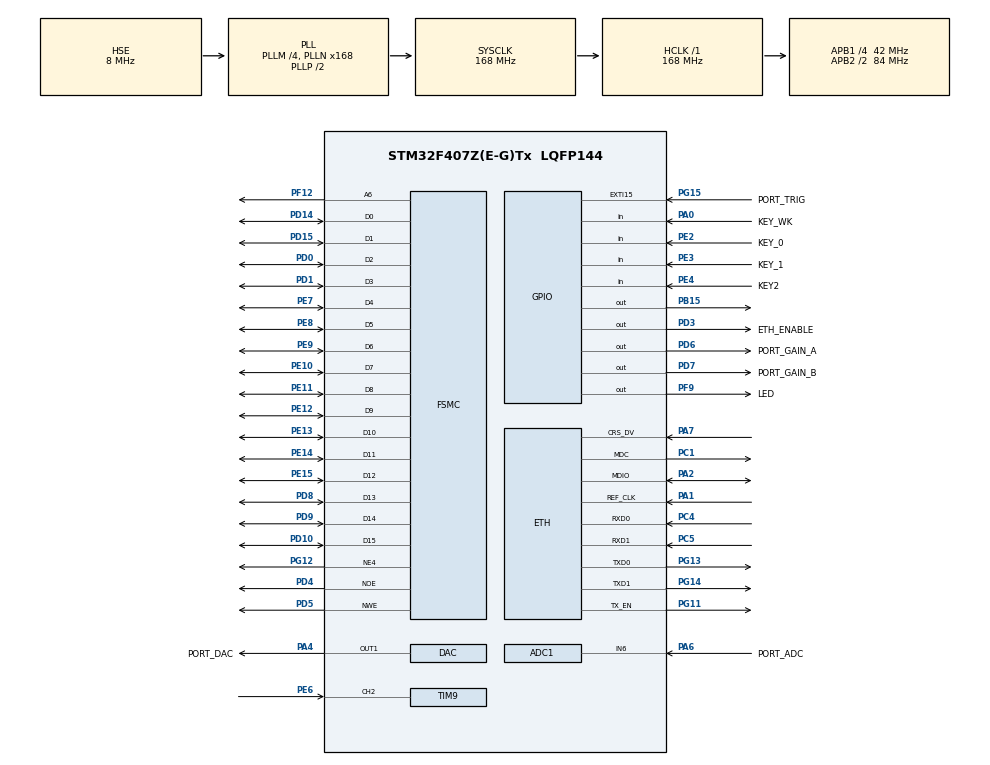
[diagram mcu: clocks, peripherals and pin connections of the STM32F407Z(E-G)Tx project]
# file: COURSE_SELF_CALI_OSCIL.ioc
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ADC1.Channel-1\#ChannelRegularConversion=ADC_CHANNEL_6
ADC1.DMAContinuousRequests=ENABLE
ADC1.ExternalTrigConv=ADC_EXTERNALTRIGCONV_T2_CC2
ADC1.NbrOfConversionFlag=1
ADC1.Rank-1\#ChannelRegularConversion=1
ADC1.SamplingTime-1\#ChannelRegularConversion=ADC_SAMPLETIME_3CYCLES
ADC1.master=1
Dma.ADC1.0.Direction=DMA_PERIPH_TO_MEMORY
Dma.ADC1.0.FIFOMode=DMA_FIFOMODE_DISABLE
Dma.ADC1.0.Instance=DMA2_Stream4
Dma.ADC1.0.MemDataAlignment=DMA_MDATAALIGN_HALFWORD
Dma.ADC1.0.MemInc=DMA_MINC_ENABLE
Dma.ADC1.0.Mode=DMA_NORMAL
Dma.ADC1.0.PeriphDataAlignment=DMA_PDATAALIGN_HALFWORD
Dma.ADC1.0.PeriphInc=DMA_PINC_DISABLE
Dma.ADC1.0.Priority=DMA_PRIORITY_HIGH
Dma.Request0=ADC1
ETH.AutoNegotiation=ETH_AUTONEGOTIATION_ENABLE
ETH.MediaInterface=ETH_MEDIA_INTERFACE_RMII
ETH.PHY_DUPLEX_STATUS=0x0010
ETH.PHY_Name_RMII=userPHY
ETH.PHY_SPEED_STATUS=0x0004
ETH.PHY_SR=0x1F
ETH.PHY_User_Name=LAN8720
ETH.PhyAddress=0
ETH.Speed=ETH_SPEED_100M
FREERTOS.INCLUDE_eTaskGetState=1
FREERTOS.INCLUDE_uxTaskGetStackHighWaterMark=1
FREERTOS.INCLUDE_uxTaskPriorityGet=1
FREERTOS.INCLUDE_vTaskDelayUntil=1
FREERTOS.INCLUDE_vTaskDelete=1
FREERTOS.INCLUDE_vTaskSuspend=1
FREERTOS.INCLUDE_xTaskGetCurrentTaskHandle=1
FREERTOS.INCLUDE_xTaskGetHandle=1
FREERTOS.Tasks01=defaultTask,0,128,StartDefaultTask,Default,NULL,Dynamic,NULL,NULL;ADCHandleTask,0,128,ADCHandleTaskFunction,As external,NULL,Dynamic,NULL,NULL;UIHandleTask,2,256,UIHandleTaskFunction,As external,NULL,Dynamic,NULL,NULL;LwIPHandleTask,2,128,LwIPHandleTaskFunction,As external,NULL,Dynamic,NULL,NULL;DACHandleTask,0,128,DACHandleTaskFunction,As external,NULL,Dynamic,NULL,NULL
FREERTOS.configENABLE_FPU=1
FREERTOS.configGENERATE_RUN_TIME_STATS=1
FREERTOS.configMAX_TASK_NAME_LEN=128
FREERTOS.configRECORD_STACK_HIGH_ADDRESS=1
FREERTOS.configUSE_MUTEXES=1
FSMC.BusTurnAroundDuration1=5
FSMC.DataSetupTime1=60
FSMC.ExtendedAddressSetupTime1=10
FSMC.ExtendedBusTurnAroundDuration1=5
FSMC.ExtendedDataSetupTime1=8
FSMC.ExtendedMode1=FSMC_EXTENDED_MODE_ENABLE
LWIP.GATEWAY_ADDRESS=192.168.001.001
LWIP.IP_ADDRESS=192.168.001.130
LWIP.LWIP_DHCP=0
LWIP.MEMP_NUM_PBUF=10
LWIP.MEMP_NUM_TCP_PCB=5
LWIP.MEMP_NUM_UDP_PCB=1
LWIP.MEM_SIZE=10000
LWIP.NETMASK_ADDRESS=255.255.255.255
LWIP.PBUF_POOL_BUFSIZE=1184
LWIP.TCP_MSS=1072
LWIP.TCP_SND_BUF=4288
LWIP.TCP_SND_QUEUELEN=9
LWIP.Version=v2.1.2_Cube
Mcu.Family=STM32F4
Mcu.Name=STM32F407Z(E-G)Tx
Mcu.Package=LQFP144
NVIC.DMA2_Stream4_IRQn=true\:5\:0\:false\:false\:true\:false\:false\:true
NVIC.ETH_IRQn=true\:5\:0\:false\:false\:true\:true\:false\:true
NVIC.PriorityGroup=NVIC_PRIORITYGROUP_4
NVIC.TIM1_BRK_TIM9_IRQn=true\:5\:0\:false\:false\:true\:true\:true\:true
NVIC.TIM2_IRQn=true\:5\:0\:false\:false\:true\:true\:true\:true
NVIC.TIM7_IRQn=true\:5\:0\:false\:false\:true\:true\:true\:true
NVIC.TIM8_TRG_COM_TIM14_IRQn=true\:0\:0\:false\:false\:true\:false\:false\:true
NVIC.TimeBase=TIM8_TRG_COM_TIM14_IRQn
NVIC.TimeBaseIP=TIM14
PA0-WKUP.GPIO_Label=KEY_WK
PA0-WKUP.GPIO_PuPd=GPIO_PULLDOWN
PA0-WKUP.Signal=GPIO_Input
PA1.Mode=RMII
PA1.Signal=ETH_REF_CLK
PA13.Mode=JTAG_4_pins
PA13.Signal=SYS_JTMS-SWDIO
PA14.Mode=JTAG_4_pins
PA14.Signal=SYS_JTCK-SWCLK
PA15.Mode=JTAG_4_pins
PA15.Signal=SYS_JTDI
PA2.Mode=RMII
PA2.Signal=ETH_MDIO
PA4.GPIO_Label=PORT_DAC
PA4.Signal=COMP_DAC1_group
PA6.GPIO_Label=PORT_ADC
PA6.Signal=ADCx_IN6
PA7.Mode=RMII
PA7.Signal=ETH_CRS_DV
PB15.GPIO_PuPd=GPIO_PULLUP
PB15.GPIO_Speed=GPIO_SPEED_FREQ_VERY_HIGH
PB15.Signal=GPIO_Output
PB3.Mode=JTAG_4_pins
PB3.Signal=SYS_JTDO-SWO
PC1.Mode=RMII
PC1.Signal=ETH_MDC
PC4.Mode=RMII
PC4.Signal=ETH_RXD0
PC5.Mode=RMII
PC5.Signal=ETH_RXD1
PD0.Signal=FSMC_D2_DA2
PD1.Signal=FSMC_D3_DA3
PD10.Signal=FSMC_D15_DA15
PD14.Signal=FSMC_D0_DA0
PD15.Signal=FSMC_D1_DA1
PD3.GPIO_Label=ETH_ENABLE
PD3.Signal=GPIO_Output
PD4.Signal=FSMC_NOE
PD5.Signal=FSMC_NWE
PD6.GPIO_Label=PORT_GAIN_A
PD6.Signal=GPIO_Output
PD7.GPIO_Label=PORT_GAIN_B
PD7.Signal=GPIO_Output
PD8.Signal=FSMC_D13_DA13
PD9.Signal=FSMC_D14_DA14
PE10.Signal=FSMC_D7_DA7
PE11.Signal=FSMC_D8_DA8
PE12.Signal=FSMC_D9_DA9
PE13.Signal=FSMC_D10_DA10
PE14.Signal=FSMC_D11_DA11
PE15.Signal=FSMC_D12_DA12
PE2.GPIO_Label=KEY_0
PE2.GPIO_PuPd=GPIO_PULLUP
PE2.Signal=GPIO_Input
PE3.GPIO_Label=KEY_1
PE3.GPIO_PuPd=GPIO_PULLUP
PE3.Signal=GPIO_Input
PE4.GPIO_Label=KEY2
PE4.GPIO_PuPd=GPIO_PULLUP
PE4.Signal=GPIO_Input
PE6.Signal=S_TIM9_CH2
PE7.Signal=FSMC_D4_DA4
PE8.Signal=FSMC_D5_DA5
PE9.Signal=FSMC_D6_DA6
PF12.Signal=FSMC_A6
PF9.GPIO_Label=LED
PF9.Signal=GPIO_Output
PG11.Mode=RMII
PG11.Signal=ETH_TX_EN
PG12.Mode=NorPsramChipSelect4_1
PG12.Signal=FSMC_NE4
PG13.Mode=RMII
PG13.Signal=ETH_TXD0
PG14.Mode=RMII
PG14.Signal=ETH_TXD1
PG15.GPIO_Label=PORT_TRIG
PG15.Signal=GPXTI15
PH0-OSC_IN.Mode=HSE-External-Oscillator
PH0-OSC_IN.Signal=RCC_OSC_IN
PH1-OSC_OUT.Mode=HSE-External-Oscillator
PH1-OSC_OUT.Signal=RCC_OSC_OUT
ProjectManager.HeapSize=0x200
ProjectManager.StackSize=0x800
ProjectManager.TargetToolchain=MDK-ARM V5.27
RCC.48MHZClocksFreq_Value=84000000
RCC.AHBFreq_Value=168000000
RCC.APB1CLKDivider=RCC_HCLK_DIV4
RCC.APB1Freq_Value=42000000
RCC.APB1TimFreq_Value=84000000
RCC.APB2CLKDivider=RCC_HCLK_DIV2
RCC.APB2Freq_Value=84000000
RCC.APB2TimFreq_Value=168000000
RCC.CortexFreq_Value=168000000
RCC.EnbaleCSS=true
RCC.HCLKFreq_Value=168000000
RCC.HSE_VALUE=8000000
RCC.HSI_VALUE=16000000
RCC.LSE_VALUE=32768
RCC.PLLM=4
RCC.PLLN=168
RCC.PLLSourceVirtual=RCC_PLLSOURCE_HSE
RCC.SYSCLKFreq_VALUE=168000000
RCC.SYSCLKSource=RCC_SYSCLKSOURCE_PLLCLK
RCC.VCOOutputFreq_Value=336000000
SH.ADCx_IN6.0=ADC1_IN6,IN6
SH.COMP_DAC1_group.0=DAC_OUT1,DAC_OUT1
SH.FSMC_A6.0=FSMC_A6,A6_1
SH.FSMC_D0_DA0.0=FSMC_D0,16b-d1
SH.FSMC_D10_DA10.0=FSMC_D10,16b-d1
SH.FSMC_D11_DA11.0=FSMC_D11,16b-d1
SH.FSMC_D12_DA12.0=FSMC_D12,16b-d1
SH.FSMC_D13_DA13.0=FSMC_D13,16b-d1
SH.FSMC_D14_DA14.0=FSMC_D14,16b-d1
SH.FSMC_D15_DA15.0=FSMC_D15,16b-d1
SH.FSMC_D1_DA1.0=FSMC_D1,16b-d1
SH.FSMC_D2_DA2.0=FSMC_D2,16b-d1
SH.FSMC_D3_DA3.0=FSMC_D3,16b-d1
SH.FSMC_D4_DA4.0=FSMC_D4,16b-d1
SH.FSMC_D5_DA5.0=FSMC_D5,16b-d1
SH.FSMC_D6_DA6.0=FSMC_D6,16b-d1
SH.FSMC_D7_DA7.0=FSMC_D7,16b-d1
SH.FSMC_D8_DA8.0=FSMC_D8,16b-d1
SH.FSMC_D9_DA9.0=FSMC_D9,16b-d1
SH.FSMC_NOE.0=FSMC_NOE,Lcd1
SH.FSMC_NWE.0=FSMC_NWE,Lcd1
SH.S_TIM9_CH2.0=TIM9_CH2,Input_Capture2_from_TI2
SH.S_TIM9_CH2.1=TIM9_CH2,TriggerSource_TI2FP2
TIM2.AutoReloadPreload=TIM_AUTORELOAD_PRELOAD_ENABLE
TIM2.Channel-PWM\ Generation2\ No\ Output=TIM_CHANNEL_2
TIM2.Period=100-1
TIM2.Prescaler=83
TIM2.Pulse-PWM\ Generation2\ No\ Output=1
TIM2.TIM_MasterOutputTrigger=TIM_TRGO_RESET
TIM2.TIM_MasterSlaveMode=TIM_MASTERSLAVEMODE_DISABLE
TIM7.AutoReloadPreload=TIM_AUTORELOAD_PRELOAD_ENABLE
TIM7.Period=1000-1
TIM7.Prescaler=84
TIM9.Channel-Input_Capture2_from_TI2=TIM_CHANNEL_2
TIM9.ClockDivision=TIM_CLOCKDIVISION_DIV1
TIM9.Period=65535
TIM9.Prescaler=20
VP_FREERTOS_VS_CMSIS_V1.Mode=CMSIS_V1
VP_LWIP_VS_Enabled.Mode=Enabled
VP_SYS_VS_tim14.Mode=TIM14
VP_TIM2_VS_ClockSourceINT.Mode=Internal
VP_TIM2_VS_no_output2.Mode=PWM Generation2 No Output
VP_TIM7_VS_ClockSourceINT.Mode=Enable_Timer
VP_TIM9_VS_ClockSourceINT.Mode=Internal
VP_TIM9_VS_ControllerModeReset.Mode=Reset Mode
board=custom

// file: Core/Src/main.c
/* USER CODE BEGIN Header */
/**
  ******************************************************************************
  * @file           : main.c
  * @brief          : Main program body
  ******************************************************************************
  * @attention
  *
  * <h2><center>&copy; Copyright (c) 2021 STMicroelectronics.
  * All rights reserved.</center></h2>
  *
  * This software component is licensed by ST under Ultimate Liberty license
  * SLA0044, the "License"; You may not use this file except in compliance with
  * the License. You may obtain a copy of the License at:
  *                             www.st.com/SLA0044
  *
  ******************************************************************************
  */
/* USER CODE END Header */
#include "main.h"
#include "cmsis_os.h"
#include "adc.h"
#include "dac.h"
#include "dma.h"
#include "lwip.h"
#include "tim.h"
#include "gpio.h"
#include "fsmc.h"

/* USER CODE BEGIN Includes */
#ifndef UNUSE_LWIP
#include "app_ethernet.h"
#endif
#include "adc_control.h"
#include "userinit.h"
/* USER CODE END Includes */

void SystemClock_Config(void);
void MX_FREERTOS_Init(void);

int main(void)
{

  /* MCU Configuration--------------------------------------------------------*/

  /* Reset of all peripherals, Initializes the Flash interface and the Systick. */
  HAL_Init();

  /* Configure the system clock */
  SystemClock_Config();

  /* Initialize all configured peripherals */
  MX_GPIO_Init();
  MX_DMA_Init();
  MX_ADC1_Init();
  MX_TIM2_Init();
  MX_DAC_Init();
  MX_TIM7_Init();
  MX_FSMC_Init();
  MX_TIM9_Init();
  /* USER CODE BEGIN 2 */

  //User costomized initiation here.
  userinit();
  SEGGER_SYSVIEW_Conf();            /* Configure and initialize */

  /* USER CODE END 2 */

  /* Call init function for freertos objects (in freertos.c) */
  MX_FREERTOS_Init();
  /* Start scheduler */
  osKernelStart();

  /* We should never get here as control is now taken by the scheduler */
  /* Infinite loop */
  while (1)
  {

  }
}

void SystemClock_Config(void)
{
  RCC_OscInitTypeDef RCC_OscInitStruct = {0};
  RCC_ClkInitTypeDef RCC_ClkInitStruct = {0};

  /** Configure the main internal regulator output voltage
  */
  __HAL_RCC_PWR_CLK_ENABLE();
  __HAL_PWR_VOLTAGESCALING_CONFIG(PWR_REGULATOR_VOLTAGE_SCALE1);
  /** Initializes the RCC Oscillators according to the specified parameters
  * in the RCC_OscInitTypeDef structure.
  */
  RCC_OscInitStruct.OscillatorType = RCC_OSCILLATORTYPE_HSE;
  RCC_OscInitStruct.HSEState = RCC_HSE_ON;
  RCC_OscInitStruct.PLL.PLLState = RCC_PLL_ON;
  RCC_OscInitStruct.PLL.PLLSource = RCC_PLLSOURCE_HSE;
  RCC_OscInitStruct.PLL.PLLM = 4;
  RCC_OscInitStruct.PLL.PLLN = 168;
  RCC_OscInitStruct.PLL.PLLP = RCC_PLLP_DIV2;
  RCC_OscInitStruct.PLL.PLLQ = 4;
  if (HAL_RCC_OscConfig(&RCC_OscInitStruct) != HAL_OK)
  {
    Error_Handler();
  }
  /** Initializes the CPU, AHB and APB buses clocks
  */
  RCC_ClkInitStruct.ClockType = RCC_CLOCKTYPE_HCLK|RCC_CLOCKTYPE_SYSCLK
                              |RCC_CLOCKTYPE_PCLK1|RCC_CLOCKTYPE_PCLK2;
  RCC_ClkInitStruct.SYSCLKSource = RCC_SYSCLKSOURCE_PLLCLK;
  RCC_ClkInitStruct.AHBCLKDivider = RCC_SYSCLK_DIV1;
  RCC_ClkInitStruct.APB1CLKDivider = RCC_HCLK_DIV4;
  RCC_ClkInitStruct.APB2CLKDivider = RCC_HCLK_DIV2;

  if (HAL_RCC_ClockConfig(&RCC_ClkInitStruct, FLASH_LATENCY_5) != HAL_OK)
  {
    Error_Handler();
  }
  /** Enables the Clock Security System
  */
  HAL_RCC_EnableCSS();
}

/* USER CODE BEGIN 4 */
uint32_t t=0;
uint32_t p=0;
uint32_t out_val = 0;

float get_t_sin(void)
{
	++t;
	if(t > 3000)
	{
		p = osKernelSysTick() % 300;
		t = 0;
	}
	return (t+p)/300.0f * 3.14159f;
}

void HAL_TIM_IC_CaptureCallback(TIM_HandleTypeDef *htim)
{
	if(htim == &htim9)
	{
		if(htim->Channel == HAL_TIM_ACTIVE_CHANNEL_2)
		{
			if(GlobalWave.caliFreqStruct.overTime == 1)
			{
				GlobalWave.caliFreqStruct.overTime = 0;
				GlobalWave.caliFreqStruct.longTimeNum = 0;
				GlobalWave.period = 0xFFFFFFFF;
				GlobalWave.freq = 0;
			}
			else
			{
				GlobalWave.caliFreqStruct.shortTimeNum = HAL_TIM_ReadCapturedValue(htim, TIM_CHANNEL_2);
				GlobalWave.period = GlobalWave.caliFreqStruct.shortTimeNum + (((uint32_t)GlobalWave.caliFreqStruct.longTimeNum-1) << 16);
				GlobalWave.freq = 8000000.0f/GlobalWave.period;
				GlobalWave.caliFreqStruct.longTimeNum = 0;
				GlobalWave.caliFreqStruct.shortTimeNum = 0;
			}
		}
	}
}
/* USER CODE END 4 */

 /**
  * @brief  Period elapsed callback in non blocking mode
  * @note   This function is called  when TIM14 interrupt took place, inside
  * HAL_TIM_IRQHandler(). It makes a direct call to HAL_IncTick() to increment
  * a global variable "uwTick" used as application time base.
  * @param  htim : TIM handle
  * @retval None
  */
void HAL_TIM_PeriodElapsedCallback(TIM_HandleTypeDef *htim)
{
  if (htim->Instance == TIM14) {
    HAL_IncTick();
  }
  /* USER CODE BEGIN Callback 1 */
	if(htim == &htim7)
	{
		float f = get_t_sin();
		float sf = sinf( f );
		out_val = ( 2000.0f + 1500.0f * sf );

		HAL_DAC_SetValue(&hdac, DAC_CHANNEL_1, DAC_ALIGN_12B_R, out_val);
		HAL_DAC_Start(&hdac, DAC_CHANNEL_1);
	}
	//Freq code
	if(htim == &htim9)
	{
		if(GlobalWave.caliFreqStruct.longTimeNum < 64)
		{
			GlobalWave.caliFreqStruct.longTimeNum++;
		}
		else
		{
			GlobalWave.caliFreqStruct.overTime = 1;
			GlobalWave.freq = -1;
		}
	}
  /* USER CODE END Callback 1 */
}

void Error_Handler(void)
{
  __disable_irq();
  while (1)
  {
  }
}

/************************ (C) COPYRIGHT STMicroelectronics *****END OF FILE****/

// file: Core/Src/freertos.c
/* USER CODE BEGIN Header */
/**
  ******************************************************************************
  * File Name          : freertos.c
  * Description        : Code for freertos applications
  ******************************************************************************
  * @attention
  *
  * <h2><center>&copy; Copyright (c) 2021 STMicroelectronics.
  * All rights reserved.</center></h2>
  *
  * This software component is licensed by ST under Ultimate Liberty license
  * SLA0044, the "License"; You may not use this file except in compliance with
  * the License. You may obtain a copy of the License at:
  *                             www.st.com/SLA0044
  *
  ******************************************************************************
  */
/* USER CODE END Header */

#include "FreeRTOS.h"
#include "task.h"
#include "main.h"
#include "cmsis_os.h"

osThreadId defaultTaskHandle;
osThreadId ADCHandleTaskHandle;
osThreadId UIHandleTaskHandle;
osThreadId LwIPHandleTaskHandle;
osThreadId DACHandleTaskHandle;

void StartDefaultTask(void const * argument);
extern void ADCHandleTaskFunction(void const * argument);
extern void UIHandleTaskFunction(void const * argument);
extern void LwIPHandleTaskFunction(void const * argument);
extern void DACHandleTaskFunction(void const * argument);

extern void MX_LWIP_Init(void);
void MX_FREERTOS_Init(void); /* (MISRA C 2004 rule 8.1) */

/* GetIdleTaskMemory prototype (linked to static allocation support) */
void vApplicationGetIdleTaskMemory( StaticTask_t **ppxIdleTaskTCBBuffer, StackType_t **ppxIdleTaskStackBuffer, uint32_t *pulIdleTaskStackSize );

/* Hook prototypes */
void configureTimerForRunTimeStats(void);
unsigned long getRunTimeCounterValue(void);

/* USER CODE BEGIN 1 */
/* Functions needed when configGENERATE_RUN_TIME_STATS is on */

//uint8_t myLWIPStatus = 0;

__weak void configureTimerForRunTimeStats(void)
{

}

__weak unsigned long getRunTimeCounterValue(void)
{
return 0;
}
/* USER CODE END 1 */

/* USER CODE BEGIN GET_IDLE_TASK_MEMORY */
static StaticTask_t xIdleTaskTCBBuffer;
static StackType_t xIdleStack[configMINIMAL_STACK_SIZE];

void vApplicationGetIdleTaskMemory( StaticTask_t **ppxIdleTaskTCBBuffer, StackType_t **ppxIdleTaskStackBuffer, uint32_t *pulIdleTaskStackSize )
{
  *ppxIdleTaskTCBBuffer = &xIdleTaskTCBBuffer;
  *ppxIdleTaskStackBuffer = &xIdleStack[0];
  *pulIdleTaskStackSize = configMINIMAL_STACK_SIZE;
  /* place for user code */
}
/* USER CODE END GET_IDLE_TASK_MEMORY */

void MX_FREERTOS_Init(void) {

  /* Create the thread(s) */
  /* definition and creation of defaultTask */
  osThreadDef(defaultTask, StartDefaultTask, osPriorityNormal, 0, 128);
  defaultTaskHandle = osThreadCreate(osThread(defaultTask), NULL);

  /* definition and creation of ADCHandleTask */
  osThreadDef(ADCHandleTask, ADCHandleTaskFunction, osPriorityNormal, 0, 128);
  ADCHandleTaskHandle = osThreadCreate(osThread(ADCHandleTask), NULL);

  /* definition and creation of UIHandleTask */
  osThreadDef(UIHandleTask, UIHandleTaskFunction, osPriorityHigh, 0, 256);
  UIHandleTaskHandle = osThreadCreate(osThread(UIHandleTask), NULL);

  /* definition and creation of LwIPHandleTask */
  osThreadDef(LwIPHandleTask, LwIPHandleTaskFunction, osPriorityHigh, 0, 128);
  LwIPHandleTaskHandle = osThreadCreate(osThread(LwIPHandleTask), NULL);

  /* definition and creation of DACHandleTask */
  osThreadDef(DACHandleTask, DACHandleTaskFunction, osPriorityNormal, 0, 128);
  DACHandleTaskHandle = osThreadCreate(osThread(DACHandleTask), NULL);

}

void StartDefaultTask(void const * argument)
{
  /* init code for LWIP */
  MX_LWIP_Init();
  /* USER CODE BEGIN StartDefaultTask */
//  if(!SEGGER_SYSVIEW_IsStarted())
//  {
//	  SEGGER_SYSVIEW_Start();
//  }

  /* Infinite loop */
  for(;;)
  {
    osDelay(1);
  }
  /* USER CODE END StartDefaultTask */
}

/************************ (C) COPYRIGHT STMicroelectronics *****END OF FILE****/
